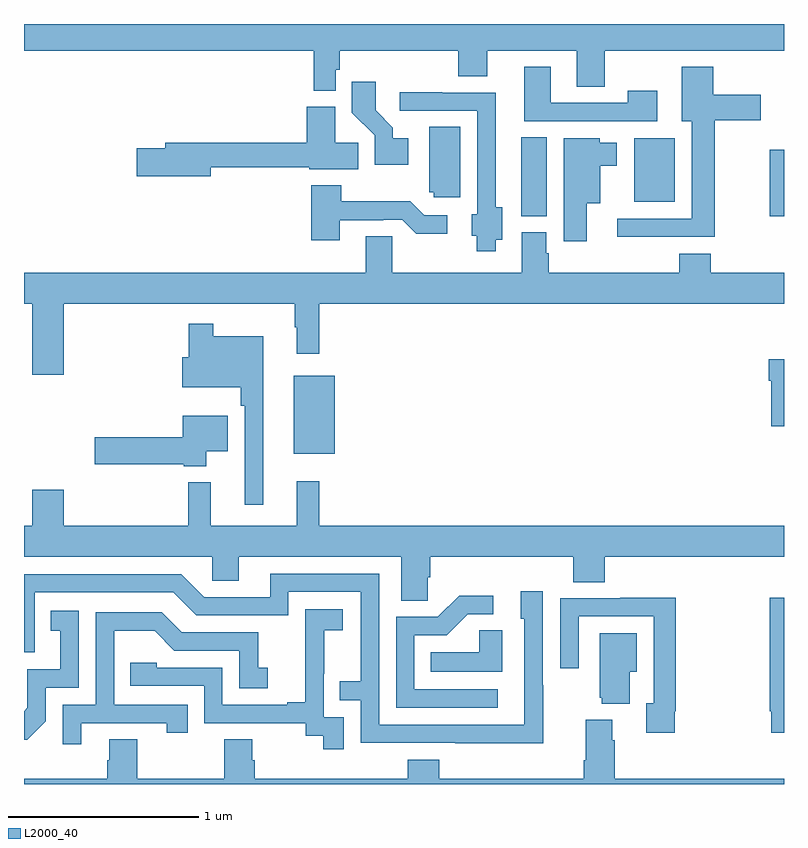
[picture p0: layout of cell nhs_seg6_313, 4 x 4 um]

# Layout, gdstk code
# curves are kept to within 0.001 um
import gdstk
lib = gdstk.Library(unit=1e-6, precision=1e-09)
def R(c, l, rs):  # rectangles x0, y0, x1, y1
    for r in rs: c.add(gdstk.rectangle(r[:2], r[2:], *l))
def P(c, l, *ps):  # polygons
    for p in ps: c.add(gdstk.Polygon(p, *l))
L2000_40 = (2000, 40)

nhs_seg6_313 = lib.new_cell('nhs_seg6_313')
R(nhs_seg6_313, L2000_40, [(130.421,921.239,130.636,921.649), (131.618,922.489,131.752,922.904), (132.925,922.489,133,922.837), (132.212,922.565,132.424,922.9)])
P(nhs_seg6_313, L2000_40, [(130.641,923.259),(130.661,923.259),(130.661,923.36),(131.285,923.36),(131.285,923.224),(131.437,923.224),(131.437,923.36),(131.909,923.36),(131.909,923.17),(132.057,923.17),(132.057,923.36),(133,923.36),(133,923.5),(129,923.5),(129,923.36),(130.525,923.36),(130.525,923.15),(130.641,923.15)],
  [(132.636,922.994),(132.877,922.994),(132.877,923.128),(132.628,923.128),(132.628,923.275),(132.461,923.275),(132.461,922.988),(132.515,922.988),(132.515,922.476),(132.123,922.476),(132.123,922.379),(132.636,922.379)],
  [(132.334,923.149),(132.178,923.149),(132.178,923.085),(131.773,923.085),(131.773,923.275),(131.633,923.275),(131.633,922.989),(132.334,922.989)],
  [(131.023,922.9),(130.942,922.9),(130.942,922.955),(130.852,923.045),(130.852,923.197),(130.726,923.197),(130.726,923.034),(130.845,922.915),(130.845,922.76),(131.023,922.76)],
  [(131.482,922.364),(131.518,922.364),(131.518,922.535),(131.482,922.535),(131.482,923.139),(131.201,923.139),(131.201,923.142),(130.977,923.142),(130.977,923.043),(131.385,923.043),(131.385,922.5),(131.357,922.5),(131.357,922.386),(131.384,922.386),(131.384,922.304),(131.482,922.304)],
  [(129.982,922.747),(130.502,922.747),(130.502,922.736),(130.76,922.736),(130.76,922.874),(130.639,922.874),(130.639,923.065),(130.489,923.065),(130.489,922.876),(129.743,922.876),(129.743,922.847),(129.594,922.847),(129.594,922.7),(129.982,922.7)],
  [(131.296,922.958),(131.132,922.958),(131.132,922.614),(131.157,922.614),(131.157,922.587),(131.296,922.587)],
  [(131.962,922.556),(132.034,922.556),(132.034,922.754),(132.121,922.754),(132.121,922.876),(132.03,922.876),(132.03,922.9),(131.84,922.9),(131.84,922.356),(131.962,922.356)],
  [(130.663,922.467),(130.892,922.467),(130.892,922.47),(130.992,922.47),(131.065,922.397),(131.227,922.397),(131.227,922.494),(131.106,922.494),(131.033,922.567),(130.671,922.567),(130.671,922.651),(130.511,922.651),(130.511,922.362),(130.663,922.362)],
  [(133,922.192),(132.614,922.192),(132.614,922.291),(132.449,922.291),(132.449,922.192),(131.762,922.192),(131.762,922.293),(131.749,922.293),(131.749,922.404),(131.621,922.404),(131.621,922.192),(130.938,922.192),(130.938,922.382),(130.799,922.382),(130.799,922.192),(129,922.192),(129,922.028),(129.044,922.028),(129.044,921.654),(129.208,921.654),(129.208,922.028),(130.425,922.028),(130.425,921.905),(130.436,921.905),(130.436,921.765),(130.553,921.765),(130.553,922.028),(133,922.028)],
  [(130.258,921.856),(129.997,921.856),(129.997,921.922),(129.868,921.922),(129.868,921.745),(129.834,921.745),(129.834,921.587),(130.141,921.587),(130.141,921.491),(130.161,921.491),(130.161,920.97),(130.258,920.97)],
  [(133,921.736),(132.92,921.736),(132.92,921.623),(132.932,921.623),(132.932,921.383),(133,921.383)],
  [(129.958,921.251),(130.072,921.251),(130.072,921.439),(129.836,921.439),(129.836,921.326),(129.372,921.326),(129.372,921.184),(129.84,921.184),(129.84,921.173),(129.958,921.173)],
  [(131.124,920.587),(131.138,920.587),(131.138,920.696),(131.891,920.696),(131.891,920.563),(132.056,920.563),(132.056,920.696),(133,920.696),(133,920.86),(130.553,920.86),(130.553,921.094),(130.436,921.094),(130.436,920.86),(129.983,920.86),(129.983,921.088),(129.865,921.088),(129.865,920.86),(129.208,920.86),(129.208,921.049),(129.044,921.049),(129.044,920.86),(129,920.86),(129,920.696),(129.99,920.696),(129.99,920.569),(130.129,920.569),(130.129,920.696),(130.985,920.696),(130.985,920.464),(131.124,920.464)],
  [(131.733,920.021),(131.73,920.021),(131.73,920.515),(131.615,920.515),(131.615,920.37),(131.634,920.37),(131.634,919.812),(130.869,919.812),(130.869,920.607),(130.295,920.607),(130.295,920.484),(129.948,920.484),(129.828,920.604),(129,920.604),(129,920.193),(129.057,920.193),(129.057,920.508),(129.786,920.508),(129.906,920.388),(130.392,920.388),(130.392,920.511),(130.773,920.511),(130.773,920.042),(130.663,920.042),(130.663,919.941),(130.773,919.941),(130.773,919.716),(131.733,919.715)],
  [(131.494,919.998),(131.055,919.998),(131.055,920.283),(131.224,920.283),(131.335,920.394),(131.47,920.394),(131.47,920.492),(131.291,920.492),(131.178,920.379),(130.959,920.379),(130.959,919.902),(131.494,919.902)],
  [(132.424,919.882),(132.431,919.882),(132.431,920.48),(132.139,920.48),(132.139,920.478),(131.823,920.478),(131.823,920.109),(131.919,920.109),(131.919,920.382),(132.315,920.382),(132.315,919.926),(132.275,919.926),(132.275,919.77),(132.424,919.77)],
  [(133,920.48),(132.925,920.48),(132.925,919.882),(132.933,919.882),(132.933,919.77),(133,919.77)],
  [(130.683,919.851),(130.578,919.851),(130.578,920.081),(130.58,920.081),(130.58,920.309),(130.678,920.309),(130.678,920.419),(130.48,920.419),(130.48,920.213),(130.481,920.213),(130.481,919.93),(130.385,919.93),(130.385,919.917),(130.044,919.917),(130.044,920.112),(129.699,920.112),(129.699,920.139),(129.559,920.139),(129.559,920.016),(129.948,920.016),(129.948,919.821),(130.482,919.821),(130.482,919.753),(130.575,919.753),(130.575,919.683),(130.683,919.683)],
  [(129.114,919.83),(129.114,920.007),(129.288,920.007),(129.288,920.413),(129.142,920.413),(129.142,920.307),(129.191,920.307),(129.191,920.103),(129.018,920.103),(129.018,919.902),(129,919.884),(129,919.733),(129.016,919.733)],
  [(129.301,919.821),(129.752,919.821),(129.752,919.77),(129.863,919.77),(129.863,919.917),(129.474,919.917),(129.474,920.306),(129.688,920.306),(129.792,920.202),(130.134,920.202),(130.134,920.004),(130.282,920.004),(130.282,920.113),(130.233,920.113),(130.233,920.298),(129.829,920.298),(129.724,920.403),(129.378,920.403),(129.378,919.917),(129.204,919.917),(129.204,919.71),(129.301,919.71)],
  [(131.518,920.309),(131.397,920.309),(131.397,920.194),(131.14,920.194),(131.14,920.09),(131.518,920.09)],
  [(132.187,920.09),(132.226,920.09),(132.226,920.293),(132.029,920.293),(132.029,919.953),(132.041,919.953),(132.041,919.922),(132.187,919.922)],
  [(133,919.528),(132.11,919.528),(132.11,919.73),(132.097,919.73),(132.097,919.837),(131.957,919.837),(131.957,919.624),(131.945,919.624),(131.945,919.528),(131.186,919.528),(131.186,919.627),(131.021,919.627),(131.021,919.528),(130.214,919.528),(130.214,919.626),(130.201,919.626),(130.201,919.736),(130.054,919.736),(130.054,919.528),(129.597,919.528),(129.597,919.736),(129.449,919.736),(129.449,919.626),(129.437,919.626),(129.437,919.528),(129,919.528),(129,919.5),(133,919.5)])

lib.write_gds('nhs_seg6_313.gds')
